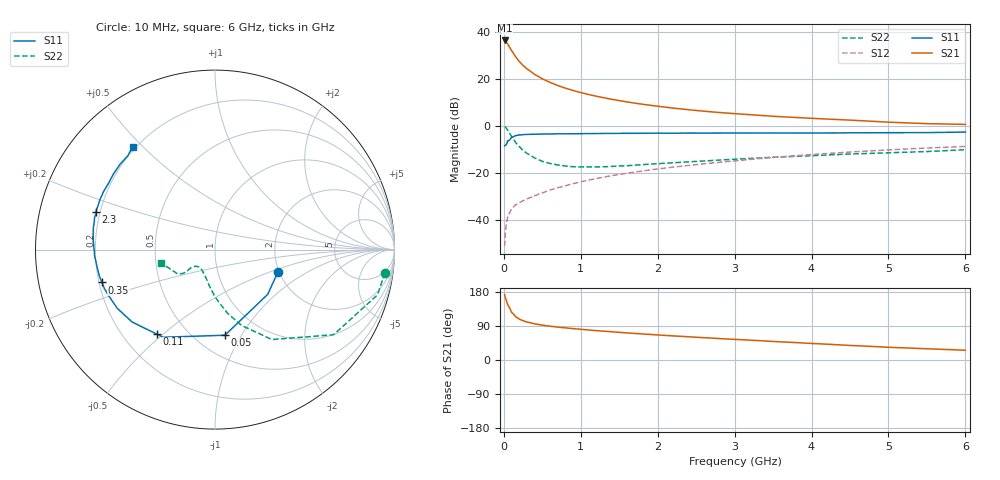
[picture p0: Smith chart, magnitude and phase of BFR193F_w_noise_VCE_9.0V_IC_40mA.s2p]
! Infineon Technologies  Discrete & RF Semiconductors
! BFR193F
! VCE =  9.0 V,  IC =  40 mA
! Common Emitter S-Parameters:  Jan 2017
# GHz  S  MA  R  50
!  f  S11  S21  S12  S22
! GHz  MAG  ANG  MAG  ANG  MAG  ANG  MAG  ANG
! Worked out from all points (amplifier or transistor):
!   77 points, 10 MHz to 6 GHz, reference 50 ohm
!   highest |S21| = 36.4 dB at 10 MHz (marker M1)
!   |S21| within 3 dB of that: start of sweep to 76.36 MHz
!   unconditionally stable (mu >= 1): 1.021 GHz to 2.617 GHz
!   at 130 MHz: K = 0.41, MSG = 32.5 dB, |S12| = -34.4 dB
!   at 2.2 GHz: K = 1.02, MAG = 11.7 dB, |S12| = -17.7 dB
!   at 6 GHz: K = 0.85, MSG = 4.7 dB, |S12| = -8.8 dB
!   lowest NFmin = 1.34 dB at 450 MHz
!   S11 on the Smith chart (normalised r, x): 10 MHz: 1.97, -0.58; 50 MHz: 0.69, -0.85; 110 MHz: 0.34, -0.48; 350 MHz: 0.21, -0.14; 2.3 GHz: 0.18, +0.15; 6 GHz: 0.19, +0.47
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0.01  0.3721 -19.8  65.84 172.2  0.0027 84.2  0.9557 -7.8
0.02  0.3852 -40.3  64.02 164.6  0.0055 73.3  0.9396 -15.6
0.05  0.4802 -83.4  55.34 146.1  0.0112 64.3  0.8132 -35.7
0.1  0.5675 -120.6  40.15 125.9  0.0168 53.0  0.5927 -57.7
0.11  0.5717 -124.5  38.03 124.2  0.0175 52.3  0.5618 -59.8
0.15  0.6132 -138.9  30.02 114.9  0.0204 49.9  0.4479 -70.7
0.2  0.6354 -149.0  23.6 108.1  0.0226 52.1  0.3601 -79.0
0.25  0.6448 -156.1  19.29 103.5  0.0253 51.6  0.2966 -85.5
0.3  0.6533 -160.5  16.33 100.2  0.0275 54.0  0.2579 -90.6
0.35  0.6558 -163.8  14.36 98.1  0.0297 55.7  0.2309 -94.2
0.4  0.6604 -167.0  12.42 95.3  0.032 57.2  0.2051 -98.7
0.5  0.6636 -171.2  10.02 92.0  0.037 60.4  0.1741 -105.1
0.6  0.6674 -174.5  8.398 89.2  0.0425 63.3  0.1565 -110.9
0.8  0.6721 -179.1  6.326 84.8  0.0524 67.3  0.1381 -120.4
1.1  0.6798 175.8  4.639 79.2  0.069 70.2  0.1327 -129.4
1.5  0.6875 170.5  3.432 73.0  0.0914 72.0  0.1387 -137.5
2.1  0.6934 164.2  2.489 64.9  0.1252 72.5  0.1585 -142.2
2.3  0.6947 162.4  2.285 62.5  0.1365 72.4  0.1659 -142.7
3.1  0.6989 155.7  1.765 53.4  0.1842 71.4  0.197 -142.3
4.1  0.6999 146.9  1.414 42.7  0.2491 67.9  0.2333 -144.8
5.1  0.7112 137.1  1.174 32.8  0.3107 62.7  0.2679 -155.2
6  0.7333 128.7  1.068 25.8  0.3614 57.6  0.3083 -165.7
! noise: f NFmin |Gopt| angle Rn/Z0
0.45  1.34  0.43  179  0.06
0.9  1.42  0.44  180  0.07
1.9  1.98  0.59  -165  0.08
2.4  2.27  0.61  -157  0.13
